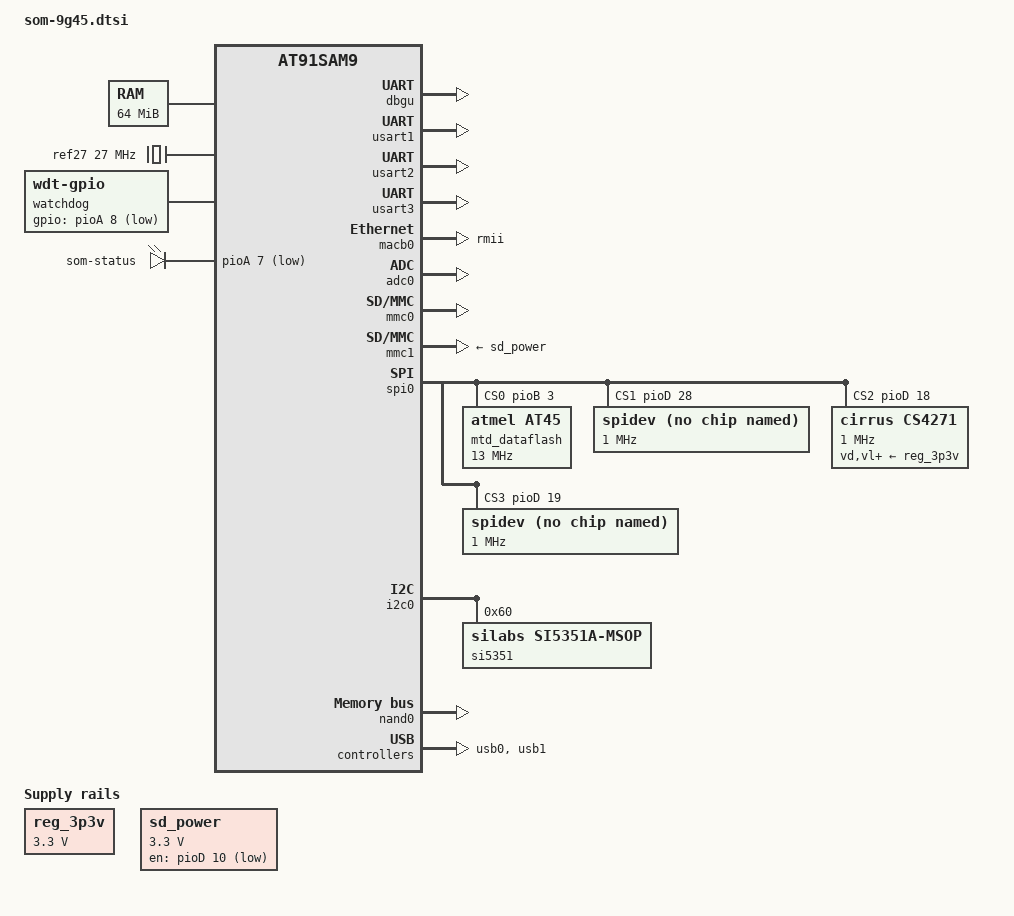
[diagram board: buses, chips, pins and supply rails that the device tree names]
/*
 * som-9g45.dtsi - Device Tree inclue file for SOM-9G45 on the SOM-2xx carriers.
 *
 *  Copyright (C) 2014 EMAC Inc
 *
 * Licensed under GPLv2 or later.
 */

#include "at91sam9g45.dtsi"

/ {
	compatible = "atmel,at91sam9m10g45ek", "atmel,at91sam9g45", "atmel,at91sam9";

	aliases {
		spi0 = &spi0;
		spi1 = &spi1;
	};

	memory {
		reg = <0x70000000 0x4000000>;
	};

	reg_3p3v: fixedregulator@0 {
		compatible = "regulator-fixed";
		regulator-name = "vmain";
		regulator-min-microvolt = <3300000>;
		regulator-max-microvolt = <3300000>;
		regulator-boot-on;
	};

	sd_power: fixedregulator@1 {
		compatible = "regulator-fixed";
		regulator-name = "sdpwr";
		regulator-min-microvolt = <3300000>;
		regulator-max-microvolt = <3300000>;
		gpio = <&pioD 10 GPIO_ACTIVE_LOW>;
		regulator-boot-on;
        };

	clocks {

		slow_xtal {
			clock-frequency = <32768>;
		};

		main_xtal {
			clock-frequency = <12000000>;
		};

		ref27: ref27 {
			#clock-cells = <0>;
			compatible = "fixed-clock";
			clock-frequency = <27000000>;
		};
	};

	ahb {
		apb {
			dbgu: serial@ffffee00 {
				status = "okay";
			};

			usart1: serial@fff90000 {
				pinctrl-0 =
					<&pinctrl_usart1
					 &pinctrl_usart1_rts
					 &pinctrl_usart1_cts>;
				status = "okay";
			};

			usart2: serial@fff94000 {
				pinctrl-0 =
					<&pinctrl_usart2
					 &pinctrl_usart2_rts
					 &pinctrl_usart2_cts>;
				status = "okay";
			};

			usart3: serial@fff98000 {
				status = "okay";
			};

			macb0: ethernet@fffbc000 {
				phy-mode = "rmii";
				status = "okay";
			};

			adc0: adc@fffb0000 {
				pinctrl-names = "default";
				pinctrl-0 = <
					&pinctrl_adc0_ad0
					&pinctrl_adc0_ad1
					&pinctrl_adc0_ad2
					&pinctrl_adc0_ad3
					&pinctrl_adc0_ad4
					&pinctrl_adc0_ad5
					&pinctrl_adc0_ad6
					&pinctrl_adc0_ad7>;
				atmel,adc-ts-wires = <4>;
				atmel,adc-ts-pressure-threshold = <10000>;
				atmel,adc-use-external-triggers;
				status = "okay";
			};

			mmc0: mmc@fff80000 {
				pinctrl-names = "default";
				pinctrl-0 = <
					&pinctrl_board_mmc0
					&pinctrl_mmc0_slot0_clk_cmd_dat0
					&pinctrl_mmc0_slot0_dat1_3>;
				status = "okay";
				slot@0 {
					reg = <0>;
					bus-width = <4>;
					cd-gpios = <&pioA 29 GPIO_ACTIVE_LOW>;
				};
			};

			mmc1: mmc@fffd0000 {
				pinctrl-names = "default";
				pinctrl-0 = <
					&pinctrl_board_mmc1
					&pinctrl_mmc1_slot0_clk_cmd_dat0
					&pinctrl_mmc1_slot0_dat1_3>;
				vmmc-supply = <&sd_power>;
				status = "okay";
				slot@0 {
					reg = <0>;
					bus-width = <4>;
					/* The SD card works without the card detect and enabling
					   causes the wifi not to work, so remove the registration. */
					/* cd-gpios = <&pioA 27 GPIO_ACTIVE_LOW>; */
				};
			};

			pinctrl@fffff200 {
				mmc0 {
					pinctrl_board_mmc0: mmc0-board {
						atmel,pins =
							<AT91_PIOA 29 AT91_PERIPH_GPIO AT91_PINCTRL_PULL_UP_DEGLITCH>;
					};
				};

				mmc1 {
					pinctrl_board_mmc1: mmc1-board {
						atmel,pins =
							<AT91_PIOA 27 AT91_PERIPH_GPIO AT91_PINCTRL_PULL_UP_DEGLITCH>;
					};
				};
			};

			spi0: spi@fffa4000{
				status = "okay";
				cs-gpios = <&pioB 3 0>, <&pioD 28 0>, <&pioD 18 0>, <&pioD 19 0>;

				mtd_dataflash@0 {
					compatible = "atmel,at45", "atmel,dataflash";
					spi-max-frequency = <13000000>;
					reg = <0>;
				};

				spidev@1 {
					compatible = "emac,spidev";
					spi-max-frequency = <1000000>;
					reg = <1>;
					status = "okay";
				};

				cs4271: cs4271@2 {
					#sound-dai-cells = <0>;
					compatible = "cirrus,cs4271";
					spi-cpol;
					spi-cpha;
					reg = <2>;
					vd-supply = <&reg_3p3v>;
					vl-supply = <&reg_3p3v>;
					va-supply = <&reg_3p3v>;
					spi-max-frequency = <1000000>;
					status = "okay";
				};

				spidev@3 {
					compatible = "emac,spidev";
					spi-max-frequency = <1000000>;
					reg = <3>;
					status = "okay";
				};
			};

			rtc0: rtc@fffffdb0 {
				status = "disabled";
			};

			rtc@fffffd20 {
				atmel,rtt-rtc-time-reg = <&gpbr 0x0>;
				status = "okay";
			};

			gpbr: syscon@fffffd60 {
				status = "okay";
			};

			ssc0: ssc@fff9c000 {
				#sound-dai-cells = <0>;
				dmas = <&dma 1 AT91_DMA_CFG_PER_ID(5)>,
				       <&dma 1 AT91_DMA_CFG_PER_ID(6)>;
				dma-names = "tx", "rx";
				status = "okay";
			};

			i2c0: i2c@fff84000 {
				status = "okay";

				si5351: clock-generator {
					#address-cells = <1>;
					#size-cells = <0>;
					#clock-cells = <1>;
					compatible = "silabs,si5351a-msop";
					reg = <0x60>;
					status = "okay";

					/* connect xtal input to 27MHz reference */
					clocks = <&ref27>;
					clock-names = "xtal";

					/* connect xtal input as source of pll0 and pll1 */
					silabs,pll-source = <0 0>, <1 0>;

					clkout0: clkout0 {
						reg = <0>;
						silabs,drive-strength = <8>;
						silabs,multisynth-source = <1>;
						silabs,clock-source = <0>;
						silabs,pll-master;
						silabs,disable-state = <3>;
						clock-frequency = <18432000>;
					 };

					clkout1: clkout1 {
						reg = <1>;
						silabs,drive-strength = <8>;
						silabs,multisynth-source = <0>;
						silabs,clock-source = <0>;
						silabs,pll-master;
						silabs,disable-state = <3>;
						clock-frequency = <8000000>;
				 	};

					clkout2: clkout2 {
						reg = <2>;
						silabs,drive-strength = <8>;
						silabs,multisynth-source = <1>;
						silabs,clock-source = <0>;
						silabs,disable-state = <3>;
						clock-frequency = <12288000>;
						clock-names = "mclk";
					};
				};
			};

			watchdog: watchdog {
				/* MAX6747 */
				compatible = "linux,wdt-gpio";
				gpios = <&pioA 8 GPIO_ACTIVE_LOW>;
				hw_algo = "toggle";
				hw_margin_ms = <1000>;
			};

		};

		fb0: fb@0x00500000 {
			display = <&display0>;
			status="okay";

			display0: display@0 {
				bits-per-pixel = <32>;
				atmel,lcdcon-backlight;
				atmel,dmacon = <0x1>;
				atmel,lcdcon2 = <0x80008002>;
				atmel,guard-time = <9>;
				atmel,lcd-wiring-mode = "RGB";
				atmel,power-control-gpio = <&pioE 1 GPIO_ACTIVE_HIGH>;

				display-timings {
					native-mode = <&timing0>;
					timing0: timing0 {
						clock-frequency = <9000000>;
						hactive = <480>;
						vactive = <272>;
						hback-porch = <1>;
						hfront-porch = <1>;
						vback-porch = <40>;
						vfront-porch = <1>;
						hsync-len = <45>;
						vsync-len = <1>;
					};
				};
			};
		};

		nand0: nand@40000000 {
			nand-bus-width = <8>;
			nand-ecc-mode = "soft";
			nand-on-flash-bbt;
			status = "okay";
		};

		usb0: ohci@00700000 {
			status = "okay";
		};

		usb1: ehci@00800000 {
			status = "okay";
		};
	};

	tcb_pwm: tcb_pwm {
		compatible = "atmel,tcb-pwm";
		#pwm-cells = <3>;
		tc-block = <0>;
		pinctrl-names = "default";
		pinctrl-0 = <&pinctrl_tcb0_tiob0 &pinctrl_tcb0_tiob1>;
		status = "okay";
	};

	gpio-leds {
		compatible = "gpio-leds";
		led1-stat {
			label = "som-status";
			gpios = <&pioA 7 GPIO_ACTIVE_LOW>;
			default-state = "on";
		};
	};
};
